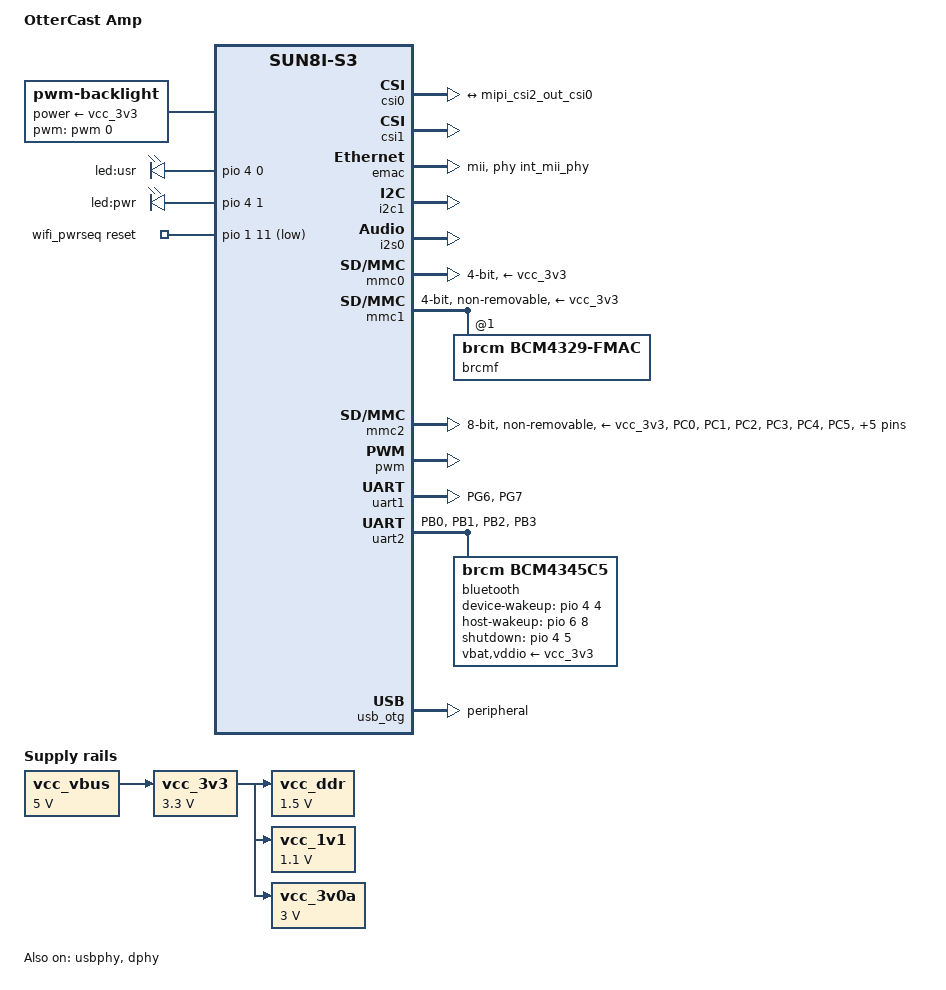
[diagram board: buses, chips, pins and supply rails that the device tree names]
// SPDX-License-Identifier: (GPL-2.0+ OR X11)
/*
 * Copyright 2021 Tobias Schramm <t.schramm@t-sys.eu>
 */

/dts-v1/;
#include "sun8i-v3.dtsi"
#include <dt-bindings/gpio/gpio.h>
#include <dt-bindings/input/input.h>

/ {
	model = "OtterCast Amp";
	compatible = "otter,ottercast-amp", "allwinner,sun8i-s3";

	aliases {
		serial0 = &uart1;
	};

	chosen {
		stdout-path = "serial0:115200n8";
	};

	backlight: backlight {
		compatible = "pwm-backlight";
		default-brightness-level = <4095>;
		power-supply = <&vcc_3v3>;
		pinctrl-0 = <&backlight_pwm_pin>;
		pinctrl-names = "default";
		pwms = <&pwm 0 1000000 0>;
	};

	leds {
		compatible = "gpio-leds";

		led0 {
			label = "led:usr";
			gpios = <&pio 4 0 GPIO_ACTIVE_HIGH>; /* PE0 */
			linux,default-trigger = "heartbeat";
		};

		led1 {
			label = "led:pwr";
			gpios = <&pio 4 1 GPIO_ACTIVE_HIGH>; /* PE1 */
			default-state = "on";
		};
	};

	/*
	 * Power tree
	 * This is a virtual regulator, root of the power tree
	 * Should be replaced with stusb-provided regulator
	 */

	vcc_vbus: vcc-vbus {
		compatible = "regulator-fixed";
		regulator-always-on;
		regulator-boot-on;
		regulator-name = "vcc-vbus";
		regulator-min-microvolt = <5000000>;
		regulator-max-microvolt = <5000000>;
	};

	/* Regulators supplied by vcc_vbus */

	vcc_3v3: vcc-3v3 {
		compatible = "regulator-fixed";
		regulator-always-on;
		regulator-boot-on;
		regulator-name = "vcc-3v3";
		regulator-min-microvolt = <3300000>;
		regulator-max-microvolt = <3300000>;
		vin-supply = <&vcc_vbus>;
	};

	/* Regulators supplied by vcc_3v3 */

	vcc_ddr: vcc-ddr {
		compatible = "regulator-fixed";
		regulator-always-on;
		regulator-boot-on;
		regulator-name = "vcc-ddr";
		regulator-min-microvolt = <1500000>;
		regulator-max-microvolt = <1500000>;
		vin-supply = <&vcc_3v3>;
	};

	vcc_1v1: vcc-1v1 {
		compatible = "regulator-fixed";
		regulator-always-on;
		regulator-name = "vcc-1v1";
		regulator-min-microvolt = <1100000>;
		regulator-max-microvolt = <1100000>;
		vin-supply = <&vcc_3v3>;
	};

	vcc_3v0a: vcc-3v0a {
		compatible = "regulator-fixed";
		regulator-always-on;
		regulator-boot-on;
		regulator-name = "vcc-3v0a";
		regulator-min-microvolt = <3000000>;
		regulator-max-microvolt = <3000000>;
		vin-supply = <&vcc_3v3>;
	};

	wifi_pwrseq: wifi_pwrseq {
		compatible = "mmc-pwrseq-simple";
		reset-gpios = <&pio 1 11 GPIO_ACTIVE_LOW>; /* PB11 WL-PMU-EN */
		clocks = <&rtc 1>;
		clock-names = "ext_clock";
		post-power-on-delay-ms = <200>;
		power-off-on-shutdown;
	};

	soc {
		csi0: camera@1cb0000 {
			compatible = "allwinner,sun8i-v3s-csi";
			reg = <0x01cb0000 0x1000>;
			interrupts = <GIC_SPI 83 IRQ_TYPE_LEVEL_HIGH>;
			clocks = <&ccu CLK_BUS_CSI>,
				 <&ccu CLK_CSI1_SCLK>,
				 <&ccu CLK_DRAM_CSI>;
			clock-names = "bus", "mod", "ram";
			resets = <&ccu RST_BUS_CSI>;
			status = "disabled";

			assigned-clocks = <&ccu CLK_CSI1_SCLK>, <&ccu CLK_CSI0_MCLK>;
			assigned-clock-parents = <&ccu 11>, <&osc24M_clk>;
			assigned-clock-rates = <0>, <24000000>;

			ports {
				#address-cells = <1>;
				#size-cells = <0>;

				port@1 {
					reg = <1>;

					csi0_in_mipi_csi2: endpoint {
						remote-endpoint = <&mipi_csi2_out_csi0>;
					};
				};
			};
		};

		mipi_csi2: csi@1cb1000 {
			compatible = "allwinner,sun8i-v3s-mipi-csi2",
				     "allwinner,sun6i-a31-mipi-csi2";
			reg = <0x01cb1000 0x1000>;
			interrupts = <GIC_SPI 90 IRQ_TYPE_LEVEL_HIGH>;
			clocks = <&ccu CLK_BUS_CSI>,
				 <&ccu CLK_CSI1_SCLK>;
			clock-names = "bus", "mod";
			resets = <&ccu RST_BUS_CSI>;
			status = "disabled";

			phys = <&dphy>;
			phy-names = "dphy";

			ports {
				#address-cells = <1>;
				#size-cells = <0>;

				mipi_csi2_in: port@0 {
					reg = <0>;
				};

				mipi_csi2_out: port@1 {
					reg = <1>;

					mipi_csi2_out_csi0: endpoint {
						remote-endpoint = <&csi0_in_mipi_csi2>;
					};
				};

				port@2 {
					reg = <2>;

					csi0_out_isp: endpoint {
						remote-endpoint = <&isp_in_csi0>;
					};
				};
			};
		};

		dphy: d-phy@1cb2000 {
			compatible = "allwinner,sun6i-a31-mipi-dphy";
			reg = <0x01cb2000 0x1000>;
			clocks = <&ccu CLK_BUS_CSI>,
				 <&ccu CLK_MIPI_CSI>;
			clock-names = "bus", "mod";
			resets = <&ccu RST_BUS_CSI>;
			allwinner,direction = "rx";
			status = "disabled";
			#phy-cells = <0>;
		};

		isp: isp@1cb8000 {
			compatible = "allwinner,sun8i-v3s-isp";
			reg = <0x01cb8000 0x1000>;
			interrupts = <GIC_SPI 83 IRQ_TYPE_LEVEL_HIGH>;
			clocks = <&ccu CLK_BUS_CSI>,
				 <&ccu CLK_CSI1_SCLK>,
				 <&ccu CLK_DRAM_CSI>;
			clock-names = "bus", "mod", "ram";
			resets = <&ccu RST_BUS_CSI>;
			status = "disabled";

			ports {
				#address-cells = <1>;
				#size-cells = <0>;

				port@0 {
					reg = <0>;

					isp_in_csi0: endpoint {
						remote-endpoint = <&csi0_out_isp>;
					};
				};
			};
		};
	};
};

&csi0 {
	pinctrl-names = "default";
	pinctrl-0 = <&csi0_mclk_pin>;
	status = "okay";
};

&csi1 {
	assigned-clocks = <&ccu CLK_CSI1_SCLK>;
	assigned-clock-parents = <&ccu 11>;
	status = "okay";
};

&dphy {
	status = "okay";
};

&emac {
	phy-handle = <&int_mii_phy>;
	phy-mode = "mii";
	status = "okay";
};

&i2c1 {
	status = "okay";

	pinctrl-names = "default";
	pinctrl-0 = <&i2c1_pe_pins>;
};

&i2s0 {
	status = "okay";
};

&mmc0 {
	vmmc-supply = <&vcc_3v3>;
	bus-width = <4>;
	broken-cd;
	status = "okay";
};

&mmc1 {
	vmmc-supply = <&vcc_3v3>;
	vqmmc-supply = <&vcc_3v3>;
	mmc-pwrseq = <&wifi_pwrseq>;
	bus-width = <4>;
	non-removable;
	no-1-8-v;
	cap-sd-highspeed;
	status = "okay";

	brcmf: wifi@1 {
		reg = <1>;
		compatible = "brcm,bcm4329-fmac";
	};
};

&mmc2 {
	vmmc-supply = <&vcc_3v3>;
	vqmmc-supply = <&vcc_3v3>;
	bus-width = <8>;
	non-removable;
	no-1-8-v;
	pinctrl-names = "default";
	pinctrl-0 = <&mmc2_pins>;
	status = "okay";
};

&pio {
	vcc-pd-supply = <&vcc_3v3>;
	vcc-pe-supply = <&vcc_3v3>;
};

&pwm {
	status = "okay";
};

&uart1 {
	status = "okay";

	pinctrl-names = "default";
	pinctrl-0 = <&uart1_pg_pins>;
};

&uart2 {
	status = "okay";
	pinctrl-names = "default";
	pinctrl-0 = <&uart2_pins>;
	uart-has-rtscts;

	bluetooth {
		compatible = "brcm,bcm4345c5";
		clocks = <&rtc 1>;
		clock-names = "lpo";
		device-wakeup-gpios = <&pio 4 4 GPIO_ACTIVE_HIGH>;
		host-wakeup-gpios = <&pio 6 8 GPIO_ACTIVE_HIGH>;
		max-speed = <1500000>;
		shutdown-gpios = <&pio 4 5 GPIO_ACTIVE_HIGH>;
		vbat-supply = <&vcc_3v3>;
		vddio-supply = <&vcc_3v3>;
	};
};

&pio {
	uart1_pg_pins: uart1-pg-pins {
		pins = "PG6", "PG7";
		function = "uart1";
	};

	mmc2_pins: mmc2-pins {
		pins = "PC0", "PC1", "PC2", "PC3",
		       "PC4", "PC5", "PC6", "PC7",
		       "PC8", "PC9", "PC10";
		function = "mmc2";
		drive-strength = <30>;
		bias-pull-up;
	};

	uart2_pins: uart2-pins {
		/* TX, RX, RTS, CTS */
		pins = "PB0", "PB1", "PB2", "PB3";
		function = "uart2";
	};

	backlight_pwm_pin: backlight-pwm-pin {
		pins = "PB4";
		function = "pwm0";
	};

	panel_pins: panel-pins {
		pins = "PD0",  "PD1",  "PD2",  "PD3",  "PD4",  "PD5",
		       "PD6",  "PD7",  "PD8",  "PD9",  "PD10", "PD11",
		       "PD12", "PD13", "PD14", "PD15", "PD16", "PD17",
		       "PD18", "PD19", "PD20", "PD21";
		function = "lcd";
	};
};

&usb_otg {
	dr_mode = "peripheral";
	status = "okay";
};

&usbphy {
	status = "okay";
};
